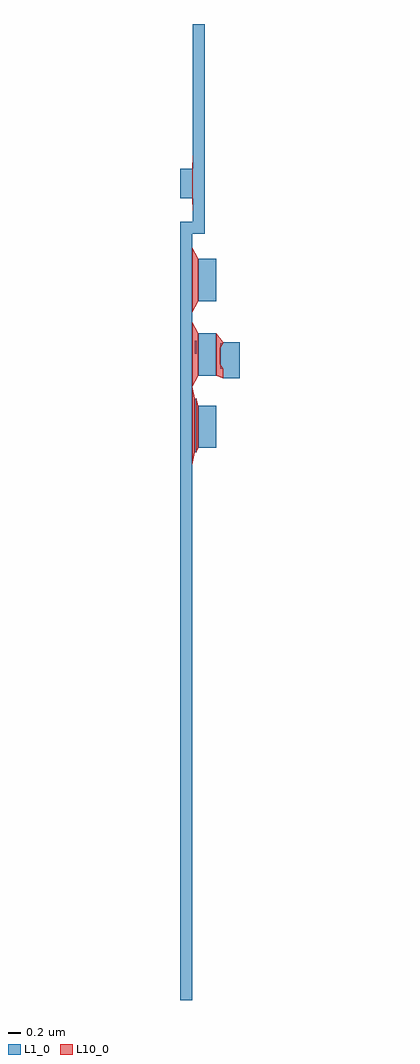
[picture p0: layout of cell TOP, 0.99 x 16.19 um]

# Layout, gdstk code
import gdstk
lib = gdstk.Library(unit=1e-6, precision=1e-09)
def R(c, l, rs):  # rectangles x0, y0, x1, y1
    for r in rs: c.add(gdstk.rectangle(r[:2], r[2:], *l))
def P(c, l, *ps):  # polygons
    for p in ps: c.add(gdstk.Polygon(p, *l))
L1_0 = (1, 0)
L10_0 = (10, 0)

top = lib.new_cell('TOP')
R(top, L1_0, [(0.04,0.988,0.07,1.882), (0.1,1.065,0.4,1.765), (0.508,2.22,0.788,2.818), (0.1,2.261,0.4,2.961), (0.459,2.373,0.508,2.797), (0.04,2.621,0.07,2.841), (0.1,3.5,0.4,4.2), (-0.202,5.206,-0.002,5.696)])
P(top, L10_0, [(0.069,0.987),(0.069,1.883),(0.101,1.766),(0.101,1.064)],
  [(-0.003,0.781),(-0.003,2.089),(0.041,1.883),(0.041,0.987)],
  [(0.509,2.219),(0.399,2.26),(0.399,2.554),(0.509,2.374)],
  [(0.399,2.26),(0.399,2.962),(0.46,2.798),(0.46,2.372)],
  [(0.399,2.616),(0.399,2.962),(0.509,2.819),(0.509,2.796)],
  [(0.101,2.412),(0.069,2.62),(0.069,2.842),(0.101,2.962)],
  [(-0.003,2.414),(-0.003,3.048),(0.041,2.842),(0.041,2.62)],
  [(-0.003,2.076),(-0.003,3.146),(0.101,2.962),(0.101,2.26)],
  [(-0.003,3.315),(-0.003,4.385),(0.101,4.201),(0.101,3.499)],
  [(0.004,4.995),(-0.003,5.205),(-0.003,5.697),(0.004,5.907)])
top.add(gdstk.FlexPath([(0.103,4.615),(0.103,8.095)], 0.2, ends="flush", simple_path=True, layer=1, datatype=0))  # L1_0
top.add(gdstk.FlexPath([(-0.202,4.715),(0.203,4.715)], 0.2, ends="flush", simple_path=True, layer=1, datatype=0))  # L1_0
top.add(gdstk.FlexPath([(-0.102,-8.095),(-0.102,4.815)], 0.2, ends="flush", simple_path=True, layer=1, datatype=0))  # L1_0

lib.write_gds('TOP.gds')
